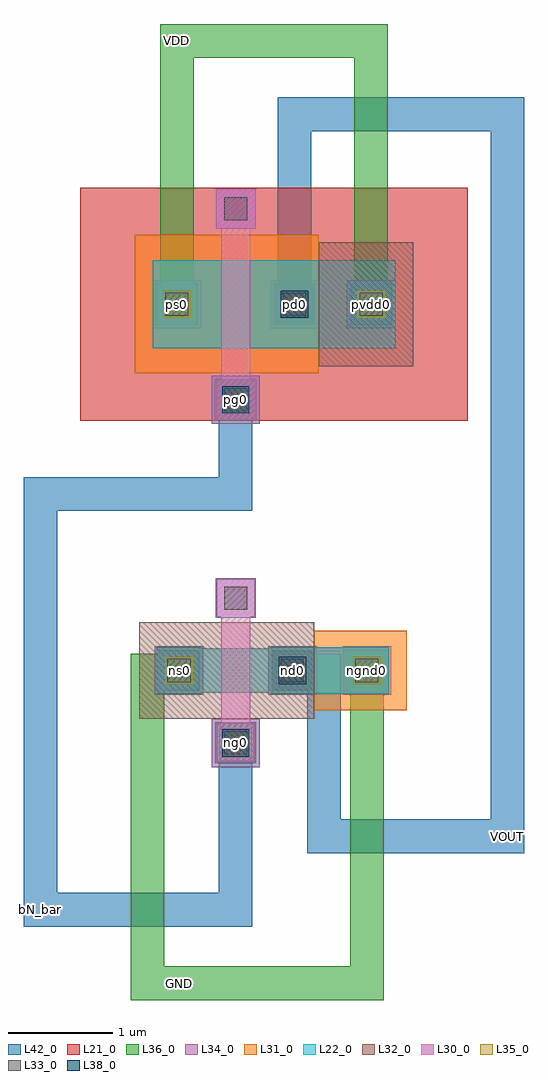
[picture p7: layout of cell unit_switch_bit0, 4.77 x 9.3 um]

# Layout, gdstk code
import gdstk
lib = gdstk.Library(unit=1e-6, precision=1e-09)
def R(c, l, rs):  # rectangles x0, y0, x1, y1
    for r in rs: c.add(gdstk.rectangle(r[:2], r[2:], *l))
L21_0 = (21, 0)
L22_0 = (22, 0)
L30_0 = (30, 0)
L31_0 = (31, 0)
L32_0 = (32, 0)
L33_0 = (33, 0)
L34_0 = (34, 0)
L35_0 = (35, 0)
L36_0 = (36, 0)
L38_0 = (38, 0)
L42_0 = (42, 0)

unit_switch_bit0 = lib.new_cell('unit_switch_bit0')
R(unit_switch_bit0, L21_0, [(-1.15,-0.69,2.54,1.53)])
R(unit_switch_bit0, L22_0, [(-0.42,-3.29,0,-2.85), (0.66,-3.29,1.08,-2.85), (1.08,-3.29,1.79,-2.85), (0,-3.28,0.66,-2.86), (-0.46,0,0,0.84), (0,0,0.66,0.84), (0.66,0,1.12,0.84), (1.12,0,1.85,0.84)])
R(unit_switch_bit0, L30_0, [(0.15,-3.94,0.51,-3.58), (0.19,-3.58,0.47,-2.56), (0.15,-2.56,0.51,-2.2), (0.14,-0.68,0.52,-0.3), (0.19,-0.3,0.47,1.14), (0.14,1.14,0.52,1.52)])
R(unit_switch_bit0, L31_0, [(1.08,-3.45,1.96,-2.69), (-0.63,-0.24,1.12,1.08)])
R(unit_switch_bit0, L32_0, [(-0.59,-3.53,1.08,-2.61), (1.12,-0.17,2.02,1.01)])
R(unit_switch_bit0, L33_0, [(0.22,-3.87,0.44,-3.65), (-0.32,-3.18,-0.1,-2.96), (0.76,-3.18,0.98,-2.96), (1.47,-3.18,1.69,-2.96), (0.22,-2.49,0.44,-2.27), (0.22,-0.6,0.44,-0.38), (-0.34,0.31,-0.12,0.53), (0.78,0.31,1,0.53), (1.51,0.31,1.73,0.53), (0.22,1.22,0.44,1.44)])
R(unit_switch_bit0, L34_0, [(0.1,-3.99,0.56,-3.53), (0.14,-3.95,0.52,-3.57), (-0.44,-3.3,0.02,-2.84), (0.64,-3.3,1.1,-2.84), (1.35,-3.3,1.81,-2.84), (-0.4,-3.26,-0.02,-2.88), (0.68,-3.26,1.06,-2.88), (1.39,-3.26,1.77,-2.88), (0.14,-2.57,0.52,-2.19), (0.1,-0.72,0.56,-0.26), (0.14,-0.68,0.52,-0.3), (-0.46,0.19,0,0.65), (0.66,0.19,1.12,0.65), (1.39,0.19,1.85,0.65), (-0.42,0.23,-0.04,0.61), (0.7,0.23,1.08,0.61), (1.43,0.23,1.81,0.61), (0.14,1.14,0.52,1.52)])
R(unit_switch_bit0, L35_0, [(0.2,-3.89,0.46,-3.63), (-0.34,-3.2,-0.08,-2.94), (0.74,-3.2,1,-2.94), (1.45,-3.2,1.71,-2.94), (0.2,-0.62,0.46,-0.36), (-0.36,0.29,-0.1,0.55), (0.76,0.29,1.02,0.55), (1.49,0.29,1.75,0.55)])
R(unit_switch_bit0, L36_0, [(-0.67,-6.21,-0.05,-5.89), (-0.67,-6.21,-0.35,-2.91), (-0.37,-6.21,1.74,-5.89), (1.42,-6.21,1.74,-2.91), (0.135,-3.955,0.525,-3.565), (-0.405,-3.265,-0.015,-2.875), (0.675,-3.265,1.065,-2.875), (1.385,-3.265,1.775,-2.875), (-0.67,-3.23,-0.05,-2.91), (0.135,-0.685,0.525,-0.295), (-0.425,0.225,-0.035,0.615), (0.695,0.225,1.085,0.615), (1.425,0.225,1.815,0.615), (-0.39,0.26,-0.07,3.09), (1.46,0.26,1.78,3.09), (-0.39,2.77,-0.07,3.09), (-0.39,2.77,1.78,3.09)])
R(unit_switch_bit0, L38_0, [(0.2,-3.89,0.46,-3.63), (0.74,-3.2,1,-2.94), (0.2,-0.62,0.46,-0.36), (0.76,0.29,1.02,0.55)])
R(unit_switch_bit0, L42_0, [(-1.69,-5.51,0.49,-5.19), (-1.69,-5.51,-1.37,-1.23), (0.17,-5.51,0.49,-3.6), (1.01,-4.81,1.33,-2.91), (1.01,-4.81,3.08,-4.49), (2.76,-4.81,3.08,2.39), (0.135,-3.955,0.525,-3.565), (0.675,-3.265,1.065,-2.875), (0.71,-3.23,1.33,-2.91), (-1.69,-1.55,0.49,-1.23), (0.17,-1.55,0.49,-0.33), (0.135,-0.685,0.525,-0.295), (0.695,0.225,1.085,0.615), (0.73,0.26,1.05,2.39), (0.73,2.07,3.08,2.39)])
unit_switch_bit0.add(gdstk.Label('ps0', (-0.23,0.42), layer=34, texttype=10))
unit_switch_bit0.add(gdstk.Label('pd0', (0.89,0.42), layer=34, texttype=10))
unit_switch_bit0.add(gdstk.Label('pg0', (0.33,-0.49), layer=34, texttype=10))
unit_switch_bit0.add(gdstk.Label('pvdd0', (1.62,0.42), layer=34, texttype=10))
unit_switch_bit0.add(gdstk.Label('ns0', (-0.21,-3.071), layer=34, texttype=10))
unit_switch_bit0.add(gdstk.Label('nd0', (0.87,-3.071), layer=34, texttype=10))
unit_switch_bit0.add(gdstk.Label('ng0', (0.33,-3.761), layer=34, texttype=10))
unit_switch_bit0.add(gdstk.Label('ngnd0', (1.58,-3.071), layer=34, texttype=10))
unit_switch_bit0.add(gdstk.Label('VDD', (-0.23,2.93), layer=34, texttype=10))
unit_switch_bit0.add(gdstk.Label('GND', (-0.21,-6.052), layer=34, texttype=10))
unit_switch_bit0.add(gdstk.Label('VOUT', (2.92,-4.652), layer=34, texttype=10))
unit_switch_bit0.add(gdstk.Label('bN_bar', (-1.53,-5.352), layer=34, texttype=10))

lib.write_gds('unit_switch_bit0.gds')
